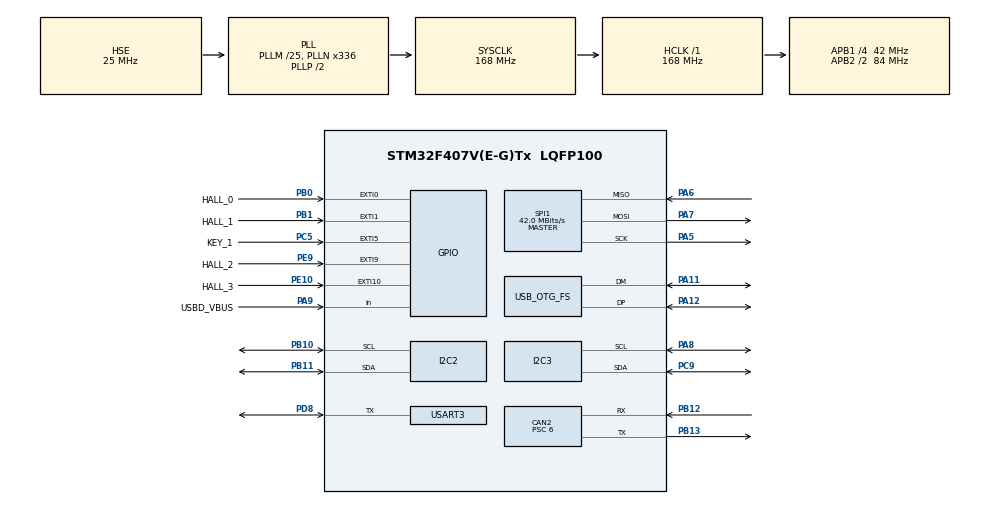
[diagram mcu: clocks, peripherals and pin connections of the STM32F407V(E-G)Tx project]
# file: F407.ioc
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CAN2.BS1=CAN_BS1_4TQ
CAN2.BS2=CAN_BS2_2TQ
CAN2.CalculateBaudRate=1000000
CAN2.CalculateTimeBit=1000
CAN2.CalculateTimeQuantum=142.85714285714286
CAN2.NART=ENABLE
CAN2.Prescaler=6
Dma.I2C3_TX.0.Direction=DMA_MEMORY_TO_PERIPH
Dma.I2C3_TX.0.FIFOMode=DMA_FIFOMODE_DISABLE
Dma.I2C3_TX.0.Instance=DMA1_Stream4
Dma.I2C3_TX.0.MemDataAlignment=DMA_MDATAALIGN_BYTE
Dma.I2C3_TX.0.MemInc=DMA_MINC_ENABLE
Dma.I2C3_TX.0.Mode=DMA_NORMAL
Dma.I2C3_TX.0.PeriphDataAlignment=DMA_PDATAALIGN_BYTE
Dma.I2C3_TX.0.PeriphInc=DMA_PINC_DISABLE
Dma.I2C3_TX.0.Priority=DMA_PRIORITY_MEDIUM
Dma.MEMTOMEM.1.Direction=DMA_MEMORY_TO_MEMORY
Dma.MEMTOMEM.1.FIFOMode=DMA_FIFOMODE_ENABLE
Dma.MEMTOMEM.1.FIFOThreshold=DMA_FIFO_THRESHOLD_FULL
Dma.MEMTOMEM.1.Instance=DMA2_Stream0
Dma.MEMTOMEM.1.MemBurst=DMA_MBURST_SINGLE
Dma.MEMTOMEM.1.MemDataAlignment=DMA_MDATAALIGN_BYTE
Dma.MEMTOMEM.1.MemInc=DMA_MINC_ENABLE
Dma.MEMTOMEM.1.Mode=DMA_NORMAL
Dma.MEMTOMEM.1.PeriphBurst=DMA_PBURST_SINGLE
Dma.MEMTOMEM.1.PeriphDataAlignment=DMA_PDATAALIGN_BYTE
Dma.MEMTOMEM.1.PeriphInc=DMA_PINC_ENABLE
Dma.MEMTOMEM.1.Priority=DMA_PRIORITY_LOW
Dma.Request0=I2C3_TX
Dma.Request1=MEMTOMEM
Dma.Request2=SPI1_RX
Dma.Request3=SPI1_TX
Dma.SPI1_RX.2.Direction=DMA_PERIPH_TO_MEMORY
Dma.SPI1_RX.2.FIFOMode=DMA_FIFOMODE_ENABLE
Dma.SPI1_RX.2.FIFOThreshold=DMA_FIFO_THRESHOLD_FULL
Dma.SPI1_RX.2.Instance=DMA2_Stream2
Dma.SPI1_RX.2.MemBurst=DMA_MBURST_SINGLE
Dma.SPI1_RX.2.MemDataAlignment=DMA_MDATAALIGN_BYTE
Dma.SPI1_RX.2.MemInc=DMA_MINC_ENABLE
Dma.SPI1_RX.2.Mode=DMA_NORMAL
Dma.SPI1_RX.2.PeriphBurst=DMA_PBURST_SINGLE
Dma.SPI1_RX.2.PeriphDataAlignment=DMA_PDATAALIGN_BYTE
Dma.SPI1_RX.2.PeriphInc=DMA_PINC_DISABLE
Dma.SPI1_RX.2.Priority=DMA_PRIORITY_MEDIUM
Dma.SPI1_TX.3.Direction=DMA_MEMORY_TO_PERIPH
Dma.SPI1_TX.3.FIFOMode=DMA_FIFOMODE_ENABLE
Dma.SPI1_TX.3.FIFOThreshold=DMA_FIFO_THRESHOLD_FULL
Dma.SPI1_TX.3.Instance=DMA2_Stream3
Dma.SPI1_TX.3.MemBurst=DMA_MBURST_SINGLE
Dma.SPI1_TX.3.MemDataAlignment=DMA_MDATAALIGN_BYTE
Dma.SPI1_TX.3.MemInc=DMA_MINC_ENABLE
Dma.SPI1_TX.3.Mode=DMA_NORMAL
Dma.SPI1_TX.3.PeriphBurst=DMA_PBURST_SINGLE
Dma.SPI1_TX.3.PeriphDataAlignment=DMA_PDATAALIGN_BYTE
Dma.SPI1_TX.3.PeriphInc=DMA_PINC_DISABLE
Dma.SPI1_TX.3.Priority=DMA_PRIORITY_MEDIUM
I2C3.DutyCycle=I2C_DUTYCYCLE_16_9
I2C3.I2C_Mode=I2C_Fast
Mcu.Family=STM32F4
Mcu.Name=STM32F407V(E-G)Tx
Mcu.Package=LQFP100
NVIC.DMA1_Stream4_IRQn=true\:1\:0\:true\:false\:true\:false\:true\:true
NVIC.DMA2_Stream0_IRQn=true\:1\:0\:true\:false\:true\:true\:true\:true
NVIC.DMA2_Stream2_IRQn=true\:1\:0\:true\:false\:true\:false\:true\:true
NVIC.DMA2_Stream3_IRQn=true\:1\:0\:true\:false\:true\:false\:true\:true
NVIC.EXTI0_IRQn=true\:0\:0\:false\:false\:true\:true\:true\:true
NVIC.EXTI15_10_IRQn=true\:0\:0\:false\:false\:true\:true\:true\:true
NVIC.EXTI1_IRQn=true\:0\:0\:false\:false\:true\:true\:true\:true
NVIC.EXTI9_5_IRQn=true\:0\:0\:false\:false\:true\:true\:true\:true
NVIC.I2C3_ER_IRQn=true\:2\:0\:true\:false\:true\:true\:true\:true
NVIC.I2C3_EV_IRQn=true\:2\:0\:true\:false\:true\:true\:true\:true
NVIC.OTG_FS_IRQn=true\:2\:0\:true\:false\:true\:false\:true\:true
NVIC.PriorityGroup=NVIC_PRIORITYGROUP_4
NVIC.SPI1_IRQn=true\:2\:0\:true\:false\:true\:true\:true\:true
NVIC.TIM2_IRQn=true\:3\:0\:true\:false\:true\:true\:true\:true
NVIC.TIM4_IRQn=true\:3\:0\:true\:false\:true\:true\:true\:true
PA11.Mode=Device_Only
PA11.Signal=USB_OTG_FS_DM
PA12.Mode=Device_Only
PA12.Signal=USB_OTG_FS_DP
PA13.Mode=Serial_Wire
PA13.Signal=SYS_JTMS-SWDIO
PA14.Mode=Serial_Wire
PA14.Signal=SYS_JTCK-SWCLK
PA5.Mode=Full_Duplex_Master
PA5.Signal=SPI1_SCK
PA6.Mode=Full_Duplex_Master
PA6.Signal=SPI1_MISO
PA7.Mode=Full_Duplex_Master
PA7.Signal=SPI1_MOSI
PA8.Mode=I2C
PA8.Signal=I2C3_SCL
PA9.GPIO_Label=USBD_VBUS
PA9.GPIO_PuPd=GPIO_PULLDOWN
PA9.Signal=GPIO_Input
PB0.GPIO_Label=HALL_0
PB0.GPIO_ModeDefaultEXTI=GPIO_MODE_IT_FALLING
PB0.Signal=GPXTI0
PB1.GPIO_Label=HALL_1
PB1.GPIO_ModeDefaultEXTI=GPIO_MODE_IT_FALLING
PB1.Signal=GPXTI1
PB10.GPIO_Pu=GPIO_PULLUP
PB10.Mode=I2C
PB10.Signal=I2C2_SCL
PB11.GPIO_Pu=GPIO_PULLUP
PB11.Mode=I2C
PB11.Signal=I2C2_SDA
PB12.Mode=CAN_Activate
PB12.Signal=CAN2_RX
PB13.Mode=CAN_Activate
PB13.Signal=CAN2_TX
PC14-OSC32_IN.Mode=LSE-External-Oscillator
PC14-OSC32_IN.Signal=RCC_OSC32_IN
PC15-OSC32_OUT.Mode=LSE-External-Oscillator
PC15-OSC32_OUT.Signal=RCC_OSC32_OUT
PC5.GPIO_Label=KEY_1
PC5.Signal=GPXTI5
PC9.Mode=I2C
PC9.Signal=I2C3_SDA
PD8.GPIO_PuPd=GPIO_PULLUP
PD8.Mode=Half_duplex(single_wire_mode)
PD8.Signal=USART3_TX
PE10.GPIO_Label=HALL_3
PE10.GPIO_ModeDefaultEXTI=GPIO_MODE_IT_FALLING
PE10.Signal=GPXTI10
PE9.GPIO_Label=HALL_2
PE9.GPIO_ModeDefaultEXTI=GPIO_MODE_IT_FALLING
PE9.Signal=GPXTI9
PH0-OSC_IN.Mode=HSE-External-Oscillator
PH0-OSC_IN.Signal=RCC_OSC_IN
PH1-OSC_OUT.Mode=HSE-External-Oscillator
PH1-OSC_OUT.Signal=RCC_OSC_OUT
ProjectManager.HeapSize=0x4000
ProjectManager.StackSize=0x8000
ProjectManager.TargetToolchain=MDK-ARM V5.32
RCC.48MHZClocksFreq_Value=48000000
RCC.AHBFreq_Value=168000000
RCC.APB1CLKDivider=RCC_HCLK_DIV4
RCC.APB1Freq_Value=42000000
RCC.APB1TimFreq_Value=84000000
RCC.APB2CLKDivider=RCC_HCLK_DIV2
RCC.APB2Freq_Value=84000000
RCC.APB2TimFreq_Value=168000000
RCC.CortexFreq_Value=168000000
RCC.HCLKFreq_Value=168000000
RCC.HSE_VALUE=25000000
RCC.HSI_VALUE=16000000
RCC.PLLM=25
RCC.PLLN=336
RCC.PLLQ=7
RCC.SYSCLKFreq_VALUE=168000000
RCC.SYSCLKSource=RCC_SYSCLKSOURCE_PLLCLK
RCC.VCOOutputFreq_Value=336000000
SPI1.BaudRatePrescaler=SPI_BAUDRATEPRESCALER_2
SPI1.CLKPhase=SPI_PHASE_1EDGE
SPI1.CLKPolarity=SPI_POLARITY_LOW
SPI1.CRCCalculation=SPI_CRCCALCULATION_DISABLE
SPI1.CalculateBaudRate=42.0 MBits/s
SPI1.Direction=SPI_DIRECTION_2LINES
SPI1.Mode=SPI_MODE_MASTER
SPI1.VirtualType=VM_MASTER
TIM2.AutoReloadPreload=TIM_AUTORELOAD_PRELOAD_ENABLE
TIM2.Period=999
TIM2.Prescaler=839
TIM3.AutoReloadPreload=TIM_AUTORELOAD_PRELOAD_ENABLE
TIM3.Period=9
TIM3.Prescaler=8399
TIM3.TIM_MasterOutputTrigger=TIM_TRGO_UPDATE
TIM3.TIM_MasterSlaveMode=TIM_MASTERSLAVEMODE_ENABLE
TIM4.AutoReloadPreload=TIM_AUTORELOAD_PRELOAD_ENABLE
TIM4.TIM_MasterOutputTrigger=TIM_TRGO_RESET
TIM4.TIM_MasterSlaveMode=TIM_MASTERSLAVEMODE_DISABLE
USART3.VirtualMode=VM_ASYNC
USB_DEVICE.CLASS_NAME_FS=CDC
USB_DEVICE.VirtualMode-CDC_FS=Cdc
USB_DEVICE.VirtualModeFS=Cdc_FS
USB_OTG_FS.VirtualMode=Device_Only
VP_TIM2_VS_ClockSourceINT.Mode=Internal
VP_TIM3_VS_ClockSourceINT.Mode=Internal
VP_TIM4_VS_ClockSourceITR.Mode=TriggerSource_ITR2
VP_TIM4_VS_ControllerModeClock.Mode=Clock Mode
VP_USB_DEVICE_VS_USB_DEVICE_CDC_FS.Mode=CDC_FS
board=custom

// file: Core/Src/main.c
/* USER CODE BEGIN Header */
/**
 ******************************************************************************
 * @file           : main.c
 * @brief          : Main program body
 ******************************************************************************
 * @attention
 *
 * Copyright (c) 2025 STMicroelectronics.
 * All rights reserved.
 *
 * This software is licensed under terms that can be found in the LICENSE file
 * in the root directory of this software component.
 * If no LICENSE file comes with this software, it is provided AS-IS.
 *
 ******************************************************************************
 */
/* USER CODE END Header */
#include "main.h"
#include "can.h"
#include "dma.h"
#include "i2c.h"
#include "spi.h"
#include "tim.h"
#include "usart.h"
#include "usb_device.h"
#include "gpio.h"

/* USER CODE BEGIN Includes */
#include <stdlib.h>
#include <math.h>

#include "OLED.h"
#include "MS42D.h"
#include "Servo.h"
#include "W25Q.h"
#include "ADS1115.h"
#include "USBD_ctrl.h"
#include "Joint.h"
#include "vm.h"
#include "vm_dispatch.h"
#include "OperationMode.h"
#include "AllJoint.h"
#include "error.h"
#include "Gripper.h"
#include "trigonometric.h"
#include "VisualMode.h"
/* USER CODE END Includes */

/* USER CODE BEGIN PTD */
// extern uint8_t joint_timit_state;
// extern Joint_HandleTypeDef m1h;
/* USER CODE END PTD */

void SystemClock_Config(void);

int main(void)
{

	/* USER CODE BEGIN 1 */
	// 上电延迟
	for (uint32_t i = 0; i < 500; i++)
	{
		for (uint32_t j = 0; j < 500; j++)
		{
		}
	}

	/* USER CODE END 1 */

	/* MCU Configuration--------------------------------------------------------*/

	/* Reset of all peripherals, Initializes the Flash interface and the Systick. */
	HAL_Init();

	/* Configure the system clock */
	SystemClock_Config();

	/* USER CODE BEGIN SysInit */
	PE1_Init();
	/* USER CODE END SysInit */

	/* Initialize all configured peripherals */
	MX_GPIO_Init();
	MX_DMA_Init();
	MX_I2C3_Init();
	MX_CAN2_Init();
	MX_USART3_UART_Init();
	MX_SPI1_Init();
	MX_USB_DEVICE_Init();
	MX_I2C2_Init();
	MX_TIM2_Init();
	MX_TIM3_Init();
	MX_TIM4_Init();
	/* USER CODE BEGIN 2 */
	OLED_Init();
	S1_Init();
	Gripper_Init();
	AllJoint_Init();
	W25Q_Init();
	TIM2_IT_Start();
	/* USER CODE END 2 */

	/* Infinite loop */
	/* USER CODE BEGIN WHILE */
	while (1)
	{
		Operation_Poll();
		/* USER CODE END WHILE */

	}
}

void SystemClock_Config(void)
{
	RCC_OscInitTypeDef RCC_OscInitStruct = {0};
	RCC_ClkInitTypeDef RCC_ClkInitStruct = {0};

	/** Configure the main internal regulator output voltage
	 */
	__HAL_RCC_PWR_CLK_ENABLE();
	__HAL_PWR_VOLTAGESCALING_CONFIG(PWR_REGULATOR_VOLTAGE_SCALE1);

	/** Initializes the RCC Oscillators according to the specified parameters
	 * in the RCC_OscInitTypeDef structure.
	 */
	RCC_OscInitStruct.OscillatorType = RCC_OSCILLATORTYPE_HSE;
	RCC_OscInitStruct.HSEState = RCC_HSE_ON;
	RCC_OscInitStruct.PLL.PLLState = RCC_PLL_ON;
	RCC_OscInitStruct.PLL.PLLSource = RCC_PLLSOURCE_HSE;
	RCC_OscInitStruct.PLL.PLLM = 25;
	RCC_OscInitStruct.PLL.PLLN = 336;
	RCC_OscInitStruct.PLL.PLLP = RCC_PLLP_DIV2;
	RCC_OscInitStruct.PLL.PLLQ = 7;
	if (HAL_RCC_OscConfig(&RCC_OscInitStruct) != HAL_OK)
	{
		Error_Handler();
	}

	/** Initializes the CPU, AHB and APB buses clocks
	 */
	RCC_ClkInitStruct.ClockType = RCC_CLOCKTYPE_HCLK | RCC_CLOCKTYPE_SYSCLK | RCC_CLOCKTYPE_PCLK1 | RCC_CLOCKTYPE_PCLK2;
	RCC_ClkInitStruct.SYSCLKSource = RCC_SYSCLKSOURCE_PLLCLK;
	RCC_ClkInitStruct.AHBCLKDivider = RCC_SYSCLK_DIV1;
	RCC_ClkInitStruct.APB1CLKDivider = RCC_HCLK_DIV4;
	RCC_ClkInitStruct.APB2CLKDivider = RCC_HCLK_DIV2;

	if (HAL_RCC_ClockConfig(&RCC_ClkInitStruct, FLASH_LATENCY_5) != HAL_OK)
	{
		Error_Handler();
	}
}

/* USER CODE BEGIN 4 */
uint32_t myabs(int32_t num)
{
	return num > 0 ? num : -num;
}

void MotorTest()
{
	/* USER CODE BEGIN 1 */
	// 上电延迟
	for (uint32_t i = 0; i < 500; i++)
	{
		for (uint32_t j = 0; j < 500; j++)
		{
		}
	}
	/* USER CODE END 1 */

	/* MCU Configuration--------------------------------------------------------*/

	/* Reset of all peripherals, Initializes the Flash interface and the Systick. */
	HAL_Init();

	/* USER CODE BEGIN Init */
	/* USER CODE END Init */

	/* Configure the system clock */
	SystemClock_Config();

	/* USER CODE BEGIN SysInit */
	PE1_Init();
	/* USER CODE END SysInit */

	/* Initialize all configured peripherals */
	MX_GPIO_Init();
	MX_DMA_Init();
	MX_I2C3_Init();
	MX_CAN2_Init();
	//   MX_USART3_UART_Init();
	//   MX_SPI1_Init();
	//   MX_USB_DEVICE_Init();
	//   MX_I2C2_Init();
	MX_TIM2_Init();
	/* USER CODE BEGIN 2 */
	OLED_Init();
	OLED_ShowString(1, 1, "OLED OK");

	// Joint_Init();
	// HAL_Delay(1000);
	// Joint_SetTarget(2000);

	TIM2_IT_Start();
	/* USER CODE END 2 */

	/* Infinite loop */
	/* USER CODE BEGIN WHILE */
	while (1)
	{
		// Joint_TimItHandler();

		/* USER CODE END WHILE */

		/* USER CODE BEGIN 3 */
	}
	/* USER CODE END 3 */
}

void W25QDMATest()
{
	/* USER CODE BEGIN 1 */
	// 上电延迟
	for (uint32_t i = 0; i < 500; i++)
	{
		for (uint32_t j = 0; j < 500; j++)
		{
		}
	}
	/* USER CODE END 1 */

	/* MCU Configuration--------------------------------------------------------*/

	/* Reset of all peripherals, Initializes the Flash interface and the Systick. */
	HAL_Init();

	/* USER CODE BEGIN Init */
	/* USER CODE END Init */

	/* Configure the system clock */
	SystemClock_Config();

	/* USER CODE BEGIN SysInit */
	PE1_Init();
	/* USER CODE END SysInit */

	/* Initialize all configured peripherals */
	MX_GPIO_Init();
	MX_DMA_Init();
	MX_I2C3_Init();
	//   MX_CAN2_Init();
	//   MX_USART3_UART_Init();
	MX_SPI1_Init();
	//   MX_USB_DEVICE_Init();
	//   MX_I2C2_Init();
	/* USER CODE BEGIN 2 */
	OLED_Init();
	// OLED_ShowString(1, 1, "OLED OK");

	W25Q_Init();

	uint8_t data[256];
	// 	0x00, 0x01, 0x02, 0x03, 0x04,
	// 	0x05, 0x06, 0x07, 0x08, 0x09,
	// 	0x0A, 0x0B, 0x0C, 0x0D, 0x0E,
	// 	0x0F, 0x10, 0x11, 0x12, 0x13
	// };
	uint8_t buffer[256];

	/* USER CODE END 2 */

	/* Infinite loop */
	/* USER CODE BEGIN WHILE */
	while (1)
	{
		uint32_t start = HAL_GetTick();
		if (W25Q_SectorErase_4ba(0x00) != HAL_OK)
		{
			// Error_Handler();
		}
		if (W25Q_PageProgram_4ba_DMA(0x00, data, 256) != HAL_OK)
		{
			// Error_Handler();
		}
		SPI_WaitTx();
		if (W25Q_ReadData_4ba_DMA(0x00, buffer, 256) != HAL_OK)
		{
			// Error_Handler();
		}
		SPI_WaitRx();
		OLED_ShowNum(1, 1, HAL_GetTick() - start, 3);
		// for (int y = 0; y < 4; y++)
		// {
		// 	for (int x = 0; x < 5; x++)
		// 	{
		// 		OLED_ShowHexNum(y + 1, 3 * x + 1, buffer[y * 5 + x], 2);
		// 	}
		// }

		// for (int i = 0; i < 20; i++)
		// {
		// 	data[i]++;
		// }

		// OLED_ShowNum(4, 1, dma2_stream0_state, 1);
		// OLED_ShowString(1, 1, Error_GetPeriphErrorStr(periph_error));
		// USBD_Poll();
		/* USER CODE END WHILE */

		/* USER CODE BEGIN 3 */
	}
	/* USER CODE END 3 */
}

void ADS1115Test()
{
	// HAL_StatusTypeDef state = HAL_I2C_Master_Transmit(&hi2c2, 0x90, &cmd, 1, 100);
	HAL_StatusTypeDef state = ADS1115_Config();

	if (state == HAL_OK)
		OLED_ShowString(2, 1, "ADS1115 OK");
	else if (state == HAL_ERROR)
		OLED_ShowString(2, 1, "ERR");
	else if (state == HAL_BUSY)
		OLED_ShowString(2, 1, "BUSY");
	else if (state == HAL_TIMEOUT)
		OLED_ShowString(2, 1, "TIMEOUT");

	// OLED_ShowNum(3, 1, hi2c2.ErrorCode, 2);

	uint16_t result = 0;
	/* USER CODE END 2 */

	/* Infinite loop */
	/* USER CODE BEGIN WHILE */
	while (1)
	{
		if (ADS1115_ReadContinuous(&result) == HAL_OK)
			OLED_ShowString(3, 1, "OK");
		else
			OLED_ShowString(3, 1, "ER");

		OLED_ShowNum(4, 1, result, 5);

		HAL_Delay(100);

		/* USER CODE END WHILE */

		/* USER CODE BEGIN 3 */
	}
	/* USER CODE END 3 */
}

void W25QTest()
{
	/* USER CODE BEGIN 2 */
	OLED_Init();
	// OLED_ShowString(1, 1, "OLED OK");

	W25Q_Init();

	uint8_t arr_0[] = {0x01, 0x02, 0x03, 0x04};
	uint8_t arr_1[] = {0x00, 0x00, 0x00, 0x00};

	/* USER CODE END 2 */

	/* Infinite loop */
	/* USER CODE BEGIN WHILE */
	while (1)
	{
		uint32_t start = HAL_GetTick();
		W25Q_SectorErase_4ba(0x000000);
		W25Q_PageProgram_4ba(0x000000, arr_0, 4);
		W25Q_ReadData_4ba(0x000000, arr_1, 4);
		uint32_t W25Q_end = HAL_GetTick();

		OLED_ShowHexNum(3, 1, arr_0[0], 2);
		OLED_ShowHexNum(3, 4, arr_0[1], 2);
		OLED_ShowHexNum(3, 7, arr_0[2], 2);
		OLED_ShowHexNum(3, 10, arr_0[3], 2);
		OLED_ShowHexNum(4, 1, arr_1[0], 2);
		OLED_ShowHexNum(4, 4, arr_1[1], 2);
		OLED_ShowHexNum(4, 7, arr_1[2], 2);
		OLED_ShowHexNum(4, 10, arr_1[3], 2);

		uint32_t OLED_end = HAL_GetTick();

		OLED_ShowNum(1, 1, W25Q_end - start, 5);
		OLED_ShowNum(2, 1, OLED_end - W25Q_end, 5);

		++arr_0[0];
		++arr_0[1];
		++arr_0[2];
		++arr_0[3];

		/* USER CODE END WHILE */

		/* USER CODE BEGIN 3 */
	}
	/* USER CODE END 3 */
}

void ServoTest()
{
	/* USER CODE BEGIN 2 */
	OLED_Init();
	OLED_ShowString(1, 1, "OLED OK");

	if (Servo_Init() == HAL_OK)
	{
		OLED_ShowString(2, 1, "SERVO OK");
	}
	else
	{
		OLED_ShowString(1, 1, "SERVO ERROR");
		Error_Handler();
	}

	// MS42D_Init();
	// OLED_ShowString(2, 1, "MS42D OK");
	// HAL_Delay(10);

	// MS42D_SetMoment(1, MS42D_DIR_ROT_CLOCKWISE, 40, 800);
	// OLED_ShowString(2, 1, "MS42D ACTIVE");
	// HAL_Delay(10);
	// uint8_t id;
	// uint8_t has_achieved;
	// float speed;
	// float angle;

	/* USER CODE END 2 */

	/* Infinite loop */
	/* USER CODE BEGIN WHILE */
	while (1)
	{
		int angle = myabs((int)((HAL_GetTick() / 10) % 540) - 270);
		OLED_ShowSignedNum(1, 1, angle, 3);
		if (Servo_SetAngle(0, angle, 10) == HAL_OK)
		{
			OLED_ShowString(3, 1, "SEND SUCCESS");
		}
		else
		{
			OLED_ShowString(3, 1, "SEND FAILED");
		}
		OLED_ShowFloatNum(4, 1, Servo_GetAngle(0), 3, 3);
		HAL_Delay(8);

		// MS42D_RequestData(1);
		// if (MS42D_GetFeedback(&id, &has_achieved, &speed, &angle) != 0)
		// {
		// 	OLED_ShowFloatNum(3, 1, speed, 2, 3);
		// 	OLED_ShowFloatNum(4, 1, angle, 5, 1);
		// }
		// else
		// {
		// 	OLED_ShowString(3, 1, "ERR0R");
		// }

		// HAL_Delay(10);
		/* USER CODE END WHILE */

		/* USER CODE BEGIN 3 */
	}
	/* USER CODE END 3 */
}

/* USER CODE END 4 */

void Error_Handler(void)
{
	/* USER CODE BEGIN Error_Handler_Debug */
	/* User can add his own implementation to report the HAL error return state */
	HAL_GPIO_WritePin(GPIOE, GPIO_PIN_1, GPIO_PIN_RESET);
	__disable_irq();
	while (1)
	{
	}
	/* USER CODE END Error_Handler_Debug */
}
